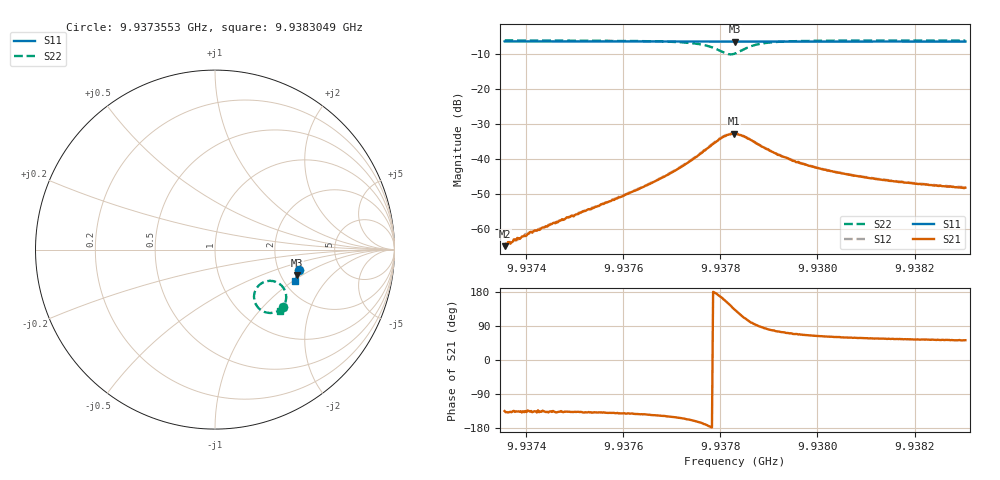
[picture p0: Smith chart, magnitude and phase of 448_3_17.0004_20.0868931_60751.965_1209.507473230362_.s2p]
#  HZ  S  RI  R  50.00
! Rohde & Schwarz Vector Network Analyzer
! Rohde-Schwarz,ZNB20-2Port,1311601062101988,3.16
! Created: UTC 3/20/2024, 11:12:09 PM
! freq[Hz]  re:S11  im:S11  re:S21  im:S21  re:S12  im:S12  re:S22  im:S22
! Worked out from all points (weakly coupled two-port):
!   401 points, 9.9373553 GHz to 9.9383049 GHz, reference 50 ohm
!   highest |S21| = -32.71 dB at 9.9378277 GHz (marker M1); lowest = -64.8 dB at 9.9373553 GHz (marker M2)
!   lowest |S11| = -6.4 dB at 9.9378301 GHz (marker M3), VSWR 2.84, Z = 122 - j45 ohm
!   |S11| at or under -10 dB: nowhere
!   |S22| runs from -10.0 to -6.1 dB; largest |S21 - S12| = 0.00095
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9.93735532e9  0.4702 -0.1121  -0.000403 -0.000407  -0.000432 -0.000408  0.3808 -0.3205
9.93737906e9  0.4697 -0.1137  -0.000494 -0.000486  -0.000524 -0.000494  0.3788 -0.322
9.93740043e9  0.4693 -0.1152  -0.000599 -0.000548  -0.00061 -0.000592  0.377 -0.3236
9.9374123e9  0.4688 -0.116  -0.00066 -0.0006  -0.00066 -0.000612  0.3762 -0.3247
9.93745028e9  0.4681 -0.1185  -0.00084 -0.000826  -0.00088 -0.0008  0.3725 -0.3274
9.93751437e9  0.4667 -0.123  -0.0013 -0.0012  -0.0013 -0.00117  0.3654 -0.3332
9.93759746e9  0.4647 -0.1283  -0.00228 -0.00186  -0.00234 -0.00188  0.3527 -0.3413
9.93767342e9  0.4629 -0.1335  -0.00432 -0.00285  -0.00442 -0.00285  0.3318 -0.3496
9.9377209e9  0.4614 -0.1368  -0.00709 -0.0035  -0.00728 -0.00342  0.3065 -0.353
9.93777075e9  0.4593 -0.1399  -0.0137 -0.00215  -0.014 -0.00178  0.2537 -0.3357
9.93780399e9  0.4577 -0.1415  -0.0197 0.00585  -0.0199 0.00649  0.2173 -0.2639
9.93781586e9  0.4574 -0.1414  -0.0194 0.0111  -0.0194 0.012  0.2274 -0.2224
9.93782773e9  0.4573 -0.1416  -0.0164 0.0164  -0.0161 0.017  0.2583 -0.1884
9.9378301e9  0.4572 -0.1416  -0.0154 0.0171  -0.0153 0.0177  0.2662 -0.1839
9.93784909e9  0.4578 -0.1422  -0.00762 0.0197  -0.00715 0.0201  0.3309 -0.1773
9.93787995e9  0.458 -0.1448  0.000322 0.016  0.000553 0.0161  0.3847 -0.2189
9.93792268e9  0.4574 -0.1478  0.00306 0.011  0.00327 0.011  0.3969 -0.2644
9.93795354e9  0.4567 -0.15  0.00346 0.00874  0.00362 0.00882  0.3948 -0.2835
9.93798915e9  0.4559 -0.1526  0.0034 0.00707  0.00357 0.00709  0.3907 -0.2979
9.93806274e9  0.4539 -0.1576  0.00312 0.00521  0.00322 0.00518  0.382 -0.3156
9.9381482e9  0.4517 -0.1632  0.00274 0.00407  0.00285 0.00408  0.3734 -0.3274
9.93830487e9  0.4473 -0.1731  0.0024 0.0031  0.00251 0.00307  0.3611 -0.3418
